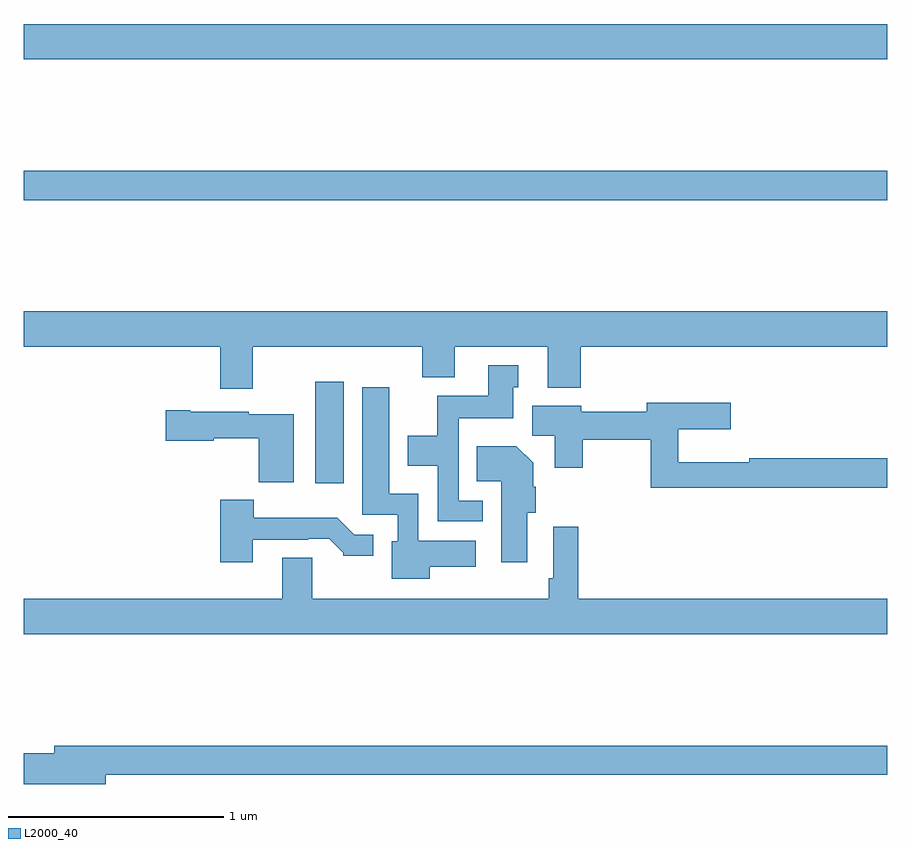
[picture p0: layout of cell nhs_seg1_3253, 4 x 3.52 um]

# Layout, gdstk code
import gdstk
lib = gdstk.Library(unit=1e-6, precision=1e-09)
def R(c, l, rs):  # rectangles x0, y0, x1, y1
    for r in rs: c.add(gdstk.rectangle(r[:2], r[2:], *l))
def P(c, l, *ps):  # polygons
    for p in ps: c.add(gdstk.Polygon(p, *l))
L2000_40 = (2000, 40)

nhs_seg1_3253 = lib.new_cell('nhs_seg1_3253')
R(nhs_seg1_3253, L2000_40, [(288.35,541.776,288.481,542.245), (287,543.088,291,543.224), (287,543.74,291,543.904)])
P(nhs_seg1_3253, L2000_40, [(288.061,542.408),(288.845,542.408),(288.845,542.267),(288.997,542.267),(288.997,542.408),(289.427,542.408),(289.427,542.219),(289.58,542.219),(289.58,542.408),(291,542.408),(291,542.572),(287,542.572),(287,542.408),(287.909,542.408),(287.909,542.214),(288.061,542.214)],
  [(289.126,541.695),(289.014,541.695),(289.014,542.078),(289.267,542.078),(289.267,542.22),(289.291,542.22),(289.291,542.323),(289.151,542.323),(289.151,542.182),(288.916,542.182),(288.916,541.996),(288.779,541.996),(288.779,541.856),(288.918,541.856),(288.918,541.599),(289.126,541.599)],
  [(288.881,541.388),(289.093,541.388),(289.093,541.51),(288.828,541.51),(288.828,541.726),(288.694,541.726),(288.694,542.221),(288.569,542.221),(288.569,541.629),(288.732,541.629),(288.732,541.506),(288.704,541.506),(288.704,541.334),(288.881,541.334)],
  [(291,541.892),(290.362,541.892),(290.362,541.873),(290.033,541.873),(290.033,542.027),(290.275,542.027),(290.275,542.149),(289.886,542.149),(289.886,542.107),(289.582,542.107),(289.582,542.134),(289.355,542.134),(289.355,541.996),(289.46,541.996),(289.46,541.848),(289.59,541.848),(289.59,541.978),(289.905,541.978),(289.905,541.756),(291,541.756)],
  [(288.25,542.095),(288.042,542.095),(288.042,542.107),(287.77,542.107),(287.77,542.115),(287.658,542.115),(287.658,541.973),(287.88,541.973),(287.88,541.985),(288.088,541.985),(288.088,541.781),(288.25,541.781)],
  [(289.333,541.638),(289.373,541.638),(289.373,541.76),(289.36,541.76),(289.36,541.87),(289.282,541.948),(289.099,541.948),(289.099,541.784),(289.211,541.784),(289.211,541.41),(289.333,541.41)],
  [(288.061,541.515),(288.317,541.515),(288.317,541.518),(288.416,541.518),(288.48,541.454),(288.48,541.439),(288.619,541.439),(288.619,541.536),(288.531,541.536),(288.453,541.615),(288.064,541.615),(288.064,541.699),(287.909,541.699),(287.909,541.41),(288.061,541.41)],
  [(291,541.24),(289.568,541.24),(289.568,541.573),(289.452,541.573),(289.452,541.336),(289.432,541.336),(289.432,541.24),(288.337,541.24),(288.337,541.43),(288.197,541.43),(288.197,541.24),(287,541.24),(287,541.076),(291,541.076)],
  [(287.38,540.424),(291,540.424),(291,540.56),(287.141,540.56),(287.141,540.524),(287,540.524),(287,540.382),(287.38,540.382)])

lib.write_gds('nhs_seg1_3253.gds')
